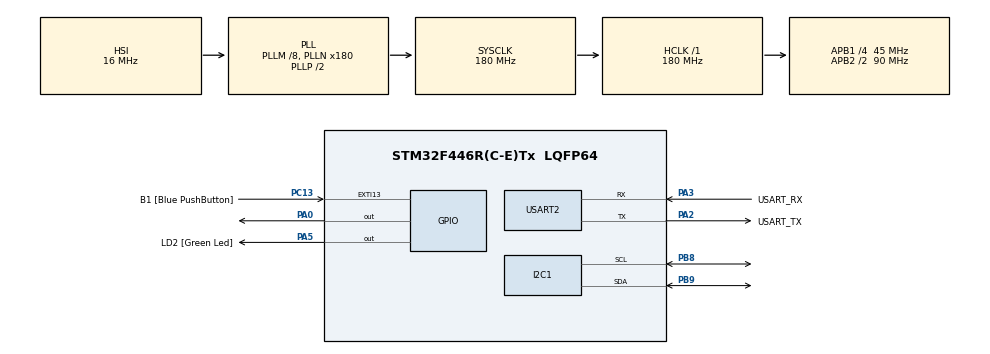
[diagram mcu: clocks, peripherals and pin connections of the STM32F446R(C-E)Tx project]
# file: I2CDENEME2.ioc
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Mcu.Family=STM32F4
Mcu.Name=STM32F446R(C-E)Tx
Mcu.Package=LQFP64
NVIC.PriorityGroup=NVIC_PRIORITYGROUP_0
PA0-WKUP.Signal=GPIO_Output
PA13.GPIO_Label=TMS
PA13.Mode=Serial_Wire
PA13.Signal=SYS_JTMS-SWDIO
PA14.GPIO_Label=TCK
PA14.Mode=Serial_Wire
PA14.Signal=SYS_JTCK-SWCLK
PA2.GPIO_Label=USART_TX
PA2.Mode=Asynchronous
PA2.Signal=USART2_TX
PA3.GPIO_Label=USART_RX
PA3.Mode=Asynchronous
PA3.Signal=USART2_RX
PA5.GPIO_Label=LD2 [Green Led]
PA5.Signal=GPIO_Output
PB3.GPIO_Label=SWO
PB3.Signal=SYS_JTDO-SWO
PB8.Mode=I2C
PB8.Signal=I2C1_SCL
PB9.Mode=I2C
PB9.Signal=I2C1_SDA
PC13.GPIO_Label=B1 [Blue PushButton]
PC13.GPIO_ModeDefaultEXTI=GPIO_MODE_IT_FALLING
PC13.Signal=GPXTI13
PC14-OSC32_IN.Mode=LSE-External-Oscillator
PC14-OSC32_IN.Signal=RCC_OSC32_IN
PC15-OSC32_OUT.Mode=LSE-External-Oscillator
PC15-OSC32_OUT.Signal=RCC_OSC32_OUT
PH0-OSC_IN.Mode=HSE-External-Oscillator
PH0-OSC_IN.Signal=RCC_OSC_IN
PH1-OSC_OUT.Mode=HSE-External-Oscillator
PH1-OSC_OUT.Signal=RCC_OSC_OUT
ProjectManager.HeapSize=0x200
ProjectManager.StackSize=0x400
ProjectManager.TargetToolchain=STM32CubeIDE
RCC.48MHZClocksFreq_Value=84000000
RCC.AHBFreq_Value=180000000
RCC.APB1CLKDivider=RCC_HCLK_DIV4
RCC.APB1Freq_Value=45000000
RCC.APB1TimFreq_Value=90000000
RCC.APB2CLKDivider=RCC_HCLK_DIV2
RCC.APB2Freq_Value=90000000
RCC.APB2TimFreq_Value=180000000
RCC.CortexFreq_Value=180000000
RCC.FLatency-AdvancedSettings=FLASH_LATENCY_5
RCC.HCLKFreq_Value=180000000
RCC.HSE_VALUE=8000000
RCC.HSI_VALUE=16000000
RCC.PLLM=8
RCC.PLLN=180
RCC.SYSCLKFreq_VALUE=180000000
RCC.SYSCLKSource=RCC_SYSCLKSOURCE_PLLCLK
RCC.USBFreq_Value=180000000
RCC.VCOOutputFreq_Value=360000000
USART2.VirtualMode=VM_ASYNC
board=NUCLEO-F446RE

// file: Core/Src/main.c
/* USER CODE BEGIN Header */
/**
  ******************************************************************************
  * @file           : main.c
  * @brief          : Main program body
  ******************************************************************************
  * @attention
  *
  * Copyright (c) 2026 STMicroelectronics.
  * All rights reserved.
  *
  * This software is licensed under terms that can be found in the LICENSE file
  * in the root directory of this software component.
  * If no LICENSE file comes with this software, it is provided AS-IS.
  *
  ******************************************************************************
  */
/* USER CODE END Header */
#include "main.h"
#include "i2c.h"
#include "usart.h"
#include "gpio.h"

void SystemClock_Config(void);

int main(void)
{

  /* MCU Configuration--------------------------------------------------------*/

  /* Reset of all peripherals, Initializes the Flash interface and the Systick. */
  HAL_Init();

  /* Configure the system clock */
  SystemClock_Config();

  /* Initialize all configured peripherals */
  MX_GPIO_Init();
  MX_I2C1_Init();
  MX_USART2_UART_Init();
  /* USER CODE BEGIN 2 */
  serial_print("XT-S1 LiDAR - Serial Monitor\r\n");
  /* Sensörün I2C'de hazir olmasi icin kisa bekleme (guc acilisi) */
     HAL_Delay(100);

     HAL_Delay(100);

        /* I2C'de sensör var mi? (Bazi HAL surumleri 7-bit, bazisi 8-bit adres ister) */
        {
            const uint16_t addr7 = XT_S1_I2C_ADDR;           /* 0x20 = 7-bit */
            const uint16_t addr8 = (XT_S1_I2C_ADDR << 1);    /* 0x40 = 8-bit */
            HAL_StatusTypeDef r7 = HAL_I2C_IsDeviceReady(&hi2c1, addr7, 3, 200);
            HAL_StatusTypeDef r8 = HAL_I2C_IsDeviceReady(&hi2c1, addr8, 3, 200);
            if (r7 != HAL_OK && r8 != HAL_OK) {
                serial_print("HATA: XT-S1 I2C'de yok (0x20). Kontrol: SDA=PB9, SCL=PB8, 5V, GND, Mode=GND, CubeMX I2C1.\r\n");
            } else {
                serial_print("XT-S1 I2C'de bulundu.\r\n");
            }
        }

      uint16_t distance_mm;
      int16_t temp_x01;
      uint8_t err;
      char buf[64];

      for (;;)
          {
              HAL_Delay(20);   /* I2C bus bosalsin */
              if (!XTS1_StartMeasurement(&hi2c1)) {
                  serial_print("I2C Start error\r\n");
                  HAL_Delay(200);
                  continue;
              }

          /* 2) Sensörün ölçümü bitirmesi için bekleme (datasheet'e göre 30–50 ms) */
          HAL_Delay(40);

          /* 3) Mesafe oku */
          if (XTS1_ReadDistance(&hi2c1, &distance_mm)) {
              snprintf(buf, sizeof(buf), "Distance: %u mm\r\n", (unsigned)distance_mm);
              serial_print(buf);
          } else {
              if (XTS1_ReadError(&hi2c1, &err)) {
                  if (err & ERR_NO_OBJECT) serial_print("No object\r\n");
                  else if (err & ERR_SATURATION) serial_print("Saturation\r\n");
                  else serial_print("Read error\r\n");
              } else {
                  serial_print("Read error\r\n");
              }
          }

          /* 4) Sıcaklık (isteğe bağlı) */
          if (XTS1_ReadTemperature(&hi2c1, &temp_x01)) {
              snprintf(buf, sizeof(buf), "Temp: %d.%d C\r\n",
                       (int)(temp_x01 / 10), (int)(temp_x01 >= 0 ? (temp_x01 % 10) : (-(-temp_x01 % 10))));
              serial_print(buf);
          }

          serial_print("---\r\n");
          HAL_Delay(500);
      }
  }
  /* USER CODE END 2 */

  /* Infinite loop */
  while (1)
  {

  }
}

void SystemClock_Config(void)
{
  RCC_OscInitTypeDef RCC_OscInitStruct = {0};
  RCC_ClkInitTypeDef RCC_ClkInitStruct = {0};

  /** Configure the main internal regulator output voltage
  */
  __HAL_RCC_PWR_CLK_ENABLE();
  __HAL_PWR_VOLTAGESCALING_CONFIG(PWR_REGULATOR_VOLTAGE_SCALE1);

  /** Initializes the RCC Oscillators according to the specified parameters
  * in the RCC_OscInitTypeDef structure.
  */
  RCC_OscInitStruct.OscillatorType = RCC_OSCILLATORTYPE_HSI;
  RCC_OscInitStruct.HSIState = RCC_HSI_ON;
  RCC_OscInitStruct.HSICalibrationValue = RCC_HSICALIBRATION_DEFAULT;
  RCC_OscInitStruct.PLL.PLLState = RCC_PLL_ON;
  RCC_OscInitStruct.PLL.PLLSource = RCC_PLLSOURCE_HSI;
  RCC_OscInitStruct.PLL.PLLM = 8;
  RCC_OscInitStruct.PLL.PLLN = 180;
  RCC_OscInitStruct.PLL.PLLP = RCC_PLLP_DIV2;
  RCC_OscInitStruct.PLL.PLLQ = 2;
  RCC_OscInitStruct.PLL.PLLR = 2;
  if (HAL_RCC_OscConfig(&RCC_OscInitStruct) != HAL_OK)
  {
    Error_Handler();
  }

  /** Activate the Over-Drive mode
  */
  if (HAL_PWREx_EnableOverDrive() != HAL_OK)
  {
    Error_Handler();
  }

  /** Initializes the CPU, AHB and APB buses clocks
  */
  RCC_ClkInitStruct.ClockType = RCC_CLOCKTYPE_HCLK|RCC_CLOCKTYPE_SYSCLK
                              |RCC_CLOCKTYPE_PCLK1|RCC_CLOCKTYPE_PCLK2;
  RCC_ClkInitStruct.SYSCLKSource = RCC_SYSCLKSOURCE_PLLCLK;
  RCC_ClkInitStruct.AHBCLKDivider = RCC_SYSCLK_DIV1;
  RCC_ClkInitStruct.APB1CLKDivider = RCC_HCLK_DIV4;
  RCC_ClkInitStruct.APB2CLKDivider = RCC_HCLK_DIV2;

  if (HAL_RCC_ClockConfig(&RCC_ClkInitStruct, FLASH_LATENCY_5) != HAL_OK)
  {
    Error_Handler();
  }
}

void Error_Handler(void)
{
  __disable_irq();
  while (1)
  {
  }
}
